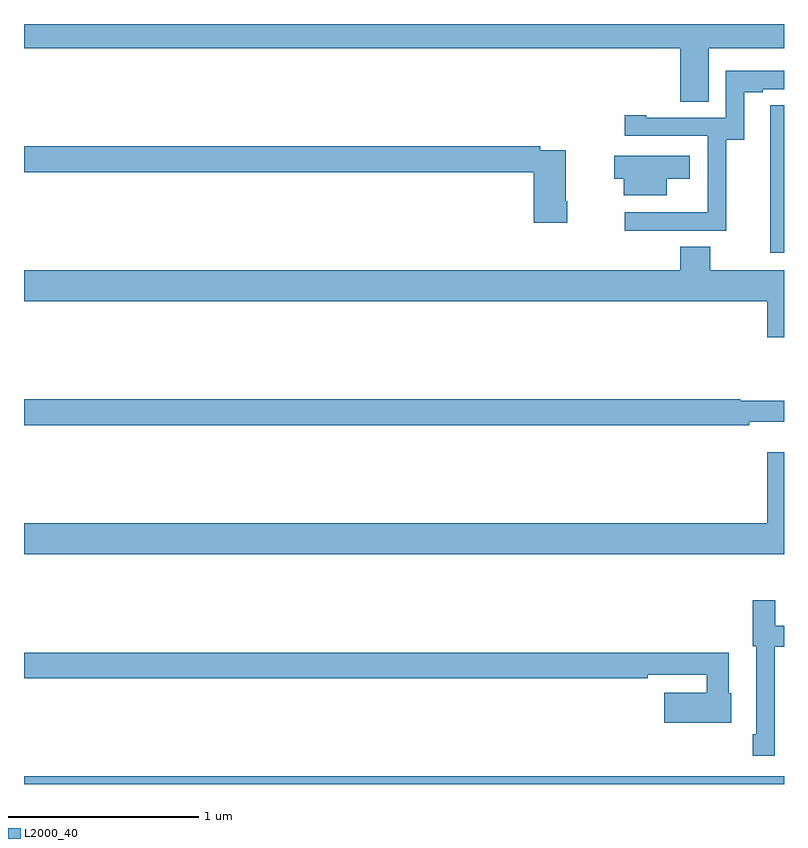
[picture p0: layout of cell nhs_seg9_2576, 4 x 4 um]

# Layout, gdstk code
import gdstk
lib = gdstk.Library(unit=1e-6, precision=1e-09)
def R(c, l, rs):  # rectangles x0, y0, x1, y1
    for r in rs: c.add(gdstk.rectangle(r[:2], r[2:], *l))
def P(c, l, *ps):  # polygons
    for p in ps: c.add(gdstk.Polygon(p, *l))
L2000_40 = (2000, 40)

nhs_seg9_2576 = lib.new_cell('nhs_seg9_2576')
R(nhs_seg9_2576, L2000_40, [(257,1240.5,261,1240.54)])
P(nhs_seg9_2576, L2000_40, [(260.605,1244.372),(261,1244.372),(261,1244.5),(257,1244.5),(257,1244.372),(260.453,1244.372),(260.453,1244.092),(260.605,1244.092)],
  [(260.697,1243.891),(260.791,1243.891),(260.791,1244.142),(260.887,1244.142),(260.887,1244.157),(261,1244.157),(261,1244.253),(260.694,1244.253),(260.694,1244.007),(260.275,1244.007),(260.275,1244.02),(260.163,1244.02),(260.163,1243.911),(260.598,1243.911),(260.598,1243.51),(260.597,1243.51),(260.597,1243.509),(260.163,1243.509),(260.163,1243.413),(260.697,1243.413)],
  [(261,1244.072),(260.928,1244.072),(260.928,1243.964),(260.927,1243.964),(260.927,1243.296),(261,1243.296)],
  [(259.86,1243.567),(259.852,1243.567),(259.852,1243.836),(259.718,1243.836),(259.718,1243.856),(257,1243.856),(257,1243.72),(259.682,1243.72),(259.682,1243.455),(259.86,1243.455)],
  [(260.383,1243.685),(260.503,1243.685),(260.503,1243.807),(260.106,1243.807),(260.106,1243.685),(260.156,1243.685),(260.156,1243.598),(260.383,1243.598)],
  [(261,1243.204),(260.613,1243.204),(260.613,1243.328),(260.453,1243.328),(260.453,1243.204),(257,1243.204),(257,1243.04),(260.912,1243.04),(260.912,1242.852),(261,1242.852)],
  [(260.816,1242.407),(261,1242.407),(261,1242.517),(260.77,1242.517),(260.77,1242.524),(257,1242.524),(257,1242.388),(260.816,1242.388)],
  [(261,1242.247),(260.912,1242.247),(260.912,1241.872),(257,1241.872),(257,1241.708),(261,1241.708)],
  [(260.952,1241.223),(261,1241.223),(261,1241.332),(260.953,1241.332),(260.953,1241.467),(260.836,1241.467),(260.836,1241.226),(260.855,1241.226),(260.855,1240.762),(260.836,1240.762),(260.836,1240.65),(260.952,1240.65)],
  [(260.722,1240.977),(260.71,1240.977),(260.71,1241.192),(257,1241.192),(257,1241.056),(260.282,1241.056),(260.282,1241.076),(260.593,1241.076),(260.593,1240.981),(260.37,1240.981),(260.37,1240.823),(260.722,1240.823)])

lib.write_gds('nhs_seg9_2576.gds')
